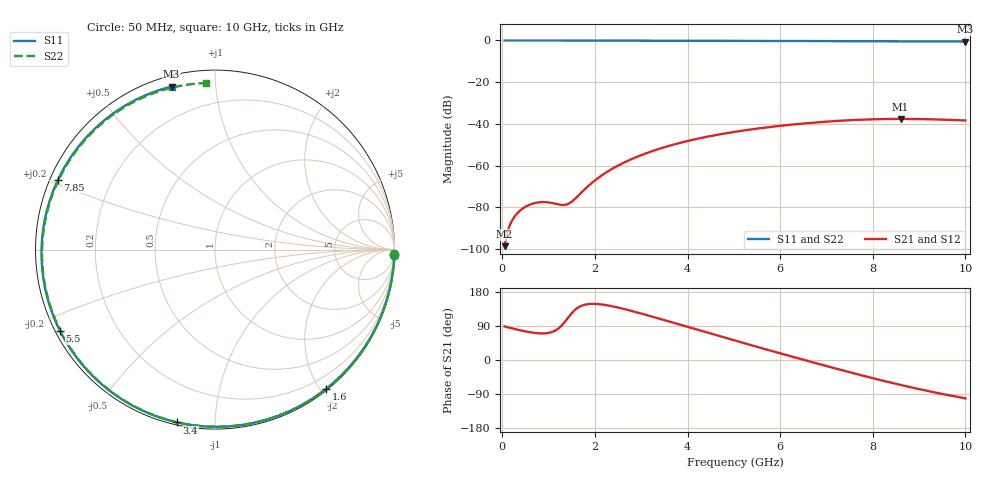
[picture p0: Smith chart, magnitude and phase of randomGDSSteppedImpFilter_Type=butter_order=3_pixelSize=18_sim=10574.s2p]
! freq	dB(S11)	phase(S11)	dB(S12)	phase(S12)
!  dB(S21)	phase(S21)	dB(S22)	phase(S22)
!S-par simulation data
#  GHz  S  DB  R 50
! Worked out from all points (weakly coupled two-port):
!   200 points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, 50 MHz to 10 GHz, reference 50 ohm
!   highest |S21| = -37.64 dB at 8.6 GHz (marker M1); lowest = -98.7 dB at 50 MHz (marker M2)
!   lowest |S11| = -0.5 dB at 10 GHz (marker M3), VSWR 32.39, Z = 2.45 + j38.4 ohm
!   |S11| at or under -10 dB: nowhere
!   |S22| runs from -0.6 to 0.0 dB; largest |S21 - S12| = 0
!   S11 on the Smith chart (normalised r, x): 50 MHz: 0, -68; 1.6 GHz: 0.02, -2.07; 3.4 GHz: 0.01, -0.80; 5.5 GHz: 0.01, -0.25; 7.85 GHz: 0.02, +0.21; 10 GHz: 0.05, +0.77
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0.05  -0.00 -1.7  -98.70 88.5  -98.70 88.5  -0.00 -1.5
0.45  -0.02 -14.9  -80.49 76.8  -80.49 76.8  -0.02 -13.7
0.85  -0.04 -27.9  -77.57 70.1  -77.57 70.1  -0.03 -25.7
1.35  -0.05 -43.8  -78.89 100.6  -78.89 100.6  -0.05 -40.5
1.45  -0.06 -46.9  -78.10 116.3  -78.10 116.3  -0.05 -43.4
1.6  -0.06 -51.6  -75.36 135.3  -75.36 135.3  -0.06 -47.8
1.75  -0.07 -56.1  -72.06 144.8  -72.06 144.8  -0.06 -52.1
2.1  -0.08 -66.6  -65.49 147.2  -65.49 147.2  -0.08 -62.0
2.45  -0.09 -76.6  -60.63 139.7  -60.63 139.7  -0.09 -71.6
2.9  -0.11 -89.1  -55.90 125.9  -55.90 125.9  -0.10 -83.7
3.4  -0.12 -102.4  -51.91 108.8  -51.91 108.8  -0.12 -96.8
4.2  -0.15 -122.3  -47.23 80.3  -47.23 80.3  -0.16 -116.9
5.05  -0.19 -142.2  -43.73 50.2  -43.73 50.2  -0.20 -137.4
5.5  -0.22 -152.3  -42.30 34.6  -42.30 34.6  -0.23 -148.1
6.1  -0.25 -165.6  -40.73 14.2  -40.73 14.2  -0.27 -162.4
6.7  -0.29 -178.7  -39.47 -6.0  -39.47 -6.0  -0.31 -176.8
7.3  -0.33 168.2  -38.52 -25.8  -38.52 -25.8  -0.36 168.4
7.85  -0.38 155.9  -37.93 -43.3  -37.93 -43.3  -0.41 154.4
8.35  -0.41 144.6  -37.67 -58.5  -37.67 -58.5  -0.46 141.2
8.6  -0.43 138.8  -37.64 -65.8  -37.64 -65.8  -0.49 134.3
9.35  -0.49 121.0  -37.89 -85.9  -37.89 -85.9  -0.57 112.8
10  -0.54 104.9  -38.42 -101.2  -38.42 -101.2  -0.64 93.0
